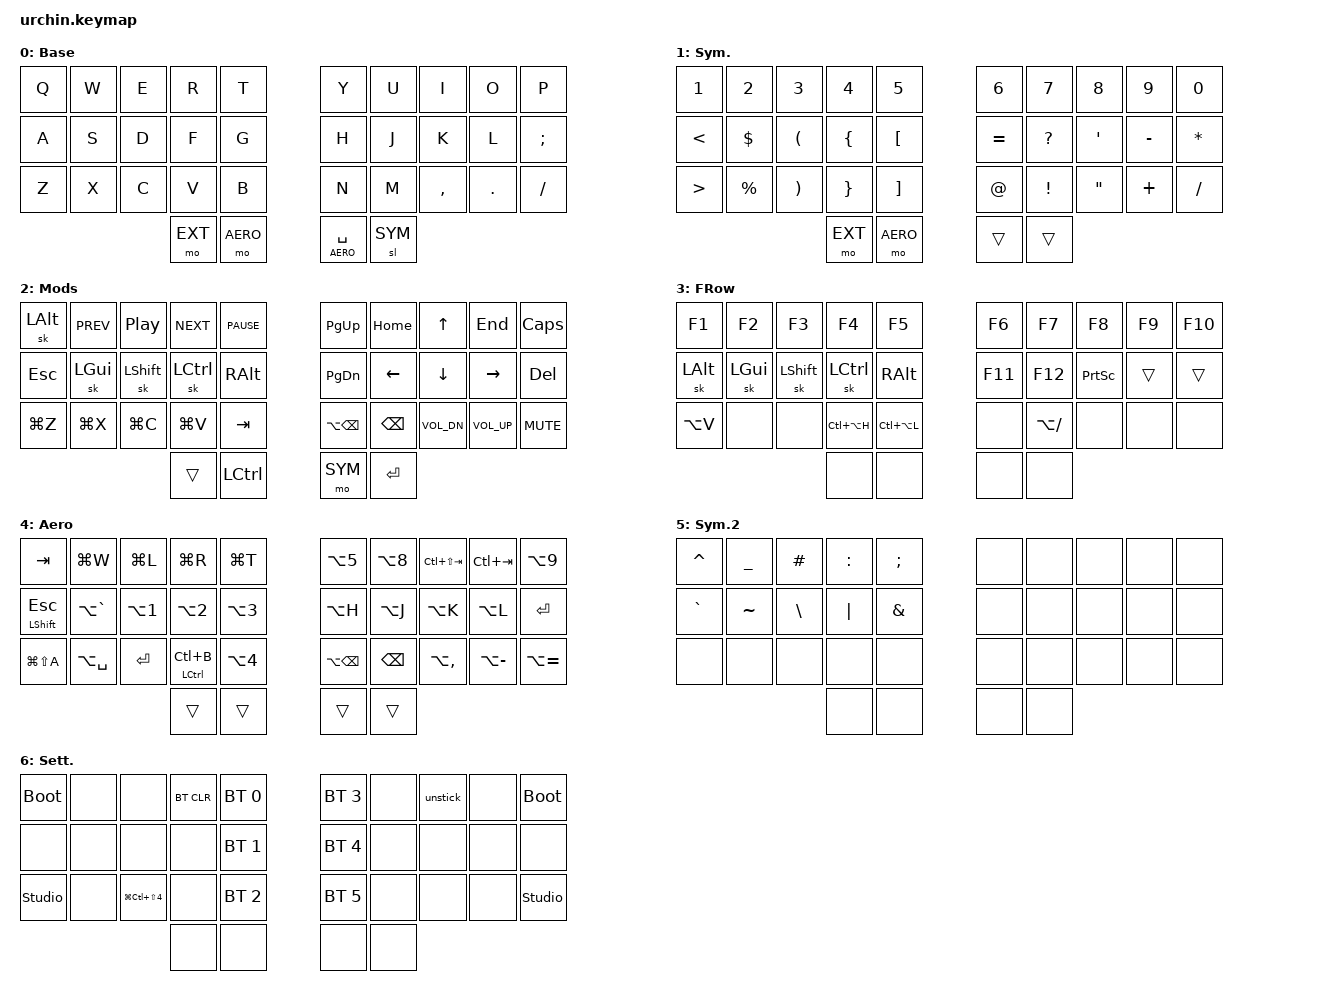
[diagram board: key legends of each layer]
/*
 * Copyright (c) 2020 duckyb
 *
 * SPDX-License-Identifier: MIT
 *
 * US / ANSI conversion of duckyb's Urchin keymap.
 * Original assumed an Italian OS input source; this version assumes
 * US (ABC) and targets macOS for the clipboard shortcuts.
 */

#include <behaviors.dtsi>
#include <dt-bindings/zmk/keys.h>
#include <dt-bindings/zmk/bt.h>
#include <dt-bindings/zmk/outputs.h>

// Layer definitions
#define BASE 0
#define SYM 1
#define EXT 2
#define FNC 3
#define AERO 4
#define SYM2 5
#define SETTINGS 6
// -----------------

&sk {
	// don't release mods on other mods presses
	ignore-modifiers;
};


/ {
	behaviors {
		// Aero dual roles: A taps Escape/holds Shift; V taps Herdr prefix/holds Ctrl.
		aero_dual: aero_dual_role {
			compatible = "zmk,behavior-hold-tap";
			label = "AERO_DUAL";
			#binding-cells = <2>;
			flavor = "hold-preferred";
			tapping-term-ms = <200>;
			quick-tap-ms = <175>;
			bindings = <&kp>, <&kp>;
		};

		// Preserve the proven right-inner Space behavior from the known-good firmware.
		aero: aero_tap {
			compatible = "zmk,behavior-hold-tap";
			label = "AERO_TAP";
			#binding-cells = <2>;
			flavor = "balanced";
			tapping-term-ms = <200>;
			quick-tap-ms = <175>;
			require-prior-idle-ms = <150>;
			bindings = <&mo>, <&kp>;
		};
	};

	conditional_layers {
		compatible = "zmk,conditional-layers";
		fn_when_mods_and_sym {
			if-layers = <EXT SYM>;
			then-layer = <FNC>;
		};
		sym2_when_aero_and_sym {
			if-layers = <AERO SYM>;
			then-layer = <SYM2>;
		};
	};

	macros {
		// sometimes my device thinks a modifier is being held down
		// pressing all modifiers fixes it.
		unstick: unstick {
			label = "ZM_unstick";
			compatible = "zmk,behavior-macro";
			#binding-cells = <0>;
			bindings = <&kp LSHIFT &kp RSHIFT &kp LCTRL &kp RCTRL &kp LALT &kp RALT &kp LGUI &kp RGUI>;
		};
	};

	combos {
		compatible = "zmk,combos";
		// both left thumb keys
		combo_settings {
			timeout-ms = <200>;
			key-positions = <30 31>;
			bindings = <&mo SETTINGS>;
		};
		// J + K -> Escape. "jk" is not a digraph in English, so this can't
		// collide with normal typing. timeout-ms is the only delay a lone J
		// ever sees (45ms, vs the 1000ms a vim inoremap would cost), and
		// require-prior-idle-ms disables the combo entirely mid-word, so
		// there is no delay at all while you're actually typing.
		combo_esc {
			timeout-ms = <45>;
			require-prior-idle-ms = <50>;
			key-positions = <16 17>;
			bindings = <&kp ESC>;
			layers = <BASE>;
		};

		// J + L -> Enter. Right hand only, so Enter no longer needs the left
		// thumb for the Mods layer. Index + ring skipping the middle: an easy
		// pinch, and "jl" appears 8 times in a 236k-word dictionary.
		combo_enter {
			timeout-ms = <45>;
			require-prior-idle-ms = <50>;
			key-positions = <16 18>;
			bindings = <&kp ENTER>;
			layers = <BASE>;
		};
	};

	keymap {
		compatible = "zmk,keymap";
		// Base alpha layer -- standard US QWERTY block
		default_layer {
			label = "Base";
			bindings = <
			&kp Q &kp W &kp E &kp R &kp T           &kp Y &kp U  &kp I     &kp O   &kp P
			&kp A &kp S &kp D &kp F &kp G           &kp H &kp J  &kp K     &kp L   &kp SEMI
			&kp Z &kp X &kp C &kp V &kp B           &kp N &kp M  &kp COMMA &kp DOT &kp FSLH
							&mo EXT &mo AERO                                   &aero AERO SPACE &sl SYM
			>;
		};

		// Numbers and high frequency symbols
		// Left hand pairs open/close vertically: < >  ( )  { }  [ ]
		sym_layer {
			label = "Sym.";
			bindings = <
			&kp N1 &kp N2    &kp N3   &kp N4   &kp N5             &kp N6    &kp N7    &kp N8  &kp N9    &kp N0
			&kp LT &kp DLLR  &kp LPAR &kp LBRC &kp LBKT           &kp EQUAL &kp QMARK &kp SQT &kp MINUS &kp STAR
			&kp GT &kp PRCNT &kp RPAR &kp RBRC &kp RBKT           &kp AT    &kp EXCL  &kp DQT &kp PLUS  &kp FSLH
														&mo EXT &mo AERO                         &trans &trans
			>;
		};

		// Main modifiers and arrow keys
		ext_layer {
			label = "Mods";
			bindings = <
			&sk LALT  &kp C_PREV &kp C_PP &kp C_NEXT &kp C_PAUSE       &kp PG_UP &kp HOME &kp UP   &kp END &kp CAPS
			&kp ESC   &sk LGUI   &sk LSHIFT &sk LCTRL  &kp RALT        &kp PG_DN &kp LEFT &kp DOWN &kp RIGHT &kp DEL
			&kp LG(Z) &kp LG(X)  &kp LG(C)  &kp LG(V)  &kp TAB       &kp LA(BSPC) &kp BSPC &kp C_VOL_DN &kp C_VOL_UP &kp C_MUTE
																		&trans &kp LCTRL                         &mo SYM &kp ENTER
			>;
		};

		// Function keys with modifiers
		fnc_layer {
			label = "FRow";
			bindings = <
			&kp F1 &kp F2 &kp F3 &kp F4 &kp F5                  &kp F6 &kp F7 &kp F8 &kp F9 &kp F10
			&sk LALT &sk LGUI &sk LSHIFT &sk LCTRL &kp RALT     &kp F11 &kp F12  &kp PRINTSCREEN &trans &trans
			&kp LA(V) &none &none &kp LC(LA(H)) &kp LC(LA(L))       &none &kp LA(SLASH) &none &none &none
							  &none &none                         &none &none
			>;
		};

		// Aerospace window management. Hold the dedicated left inner thumb.
		// Mirrors ~/.aerospace.toml, which uses alt as its modifier.
		aero_layer {
			label = "Aero";
			bindings = <
			// Aerospace keys follow the SketchyBar icon order, not the workspace IDs:
			// alt-` = ws1 Dev, alt-1 = ws2 Browser, alt-2 = ws3 Chat, alt-3 = ws4 Mail,
			// alt-4 = ws5 Music, alt-5 = ws6 Production, alt-8 = ws0 Files,
			// alt-9 = ws9 Settings.
			// Right top row: Y = Production, U = Files, P = Settings.
			// Labels below describe the destination workspace, not the number sent.
			// Left top keeps mnemonic Chrome positions: W closes and T opens a tab.
			&kp TAB &kp LG(W) &kp LG(L) &kp LG(R) &kp LG(T)  &kp LA(N5) &kp LA(N8) &kp LC(LS(TAB)) &kp LC(TAB) &kp LA(N9)
			&aero_dual LSHIFT ESC &kp LA(GRAVE) &kp LA(N1) &kp LA(N2) &kp LA(N3)  &kp LA(H) &kp LA(J) &kp LA(K) &kp LA(L) &kp ENTER
			// B holds Music: alt-4 both focuses ws5 and launches/focuses Spotify.
			&kp LG(LS(A)) &kp LA(SPACE) &kp ENTER &aero_dual LCTRL LC(B) &kp LA(N4)       &kp LA(BSPC) &kp BSPC &kp LA(COMMA) &kp LA(MINUS) &kp LA(EQUAL)
			// Keep all thumbs transparent. Contextual thumb overrides caused the
			// right thumb row to become unusable in the unified Aero revision.
									&trans &trans                         &trans &trans
			>;
		};

		// Low-frequency coding symbols. This layer automatically activates whenever
		// Aero and Sym are both held, regardless of which thumb was pressed first.
		symbols_2_layer {
			label = "Sym.2";
			bindings = <
			&kp CARET &kp UNDER &kp HASH &kp COLON &kp SEMI            &none &none &none &none &none
			&kp GRAVE &kp TILDE &kp BSLH &kp PIPE  &kp AMPS            &none &none &none &none &none
			&none     &none     &none    &none     &none               &none &none &none &none &none
																	&none &none                         &none &none
			>;
		};
		// Used to change the keyboard's settings.
		settings_layer {
				label = "Sett.";
				bindings = <
				&bootloader &none &none &bt BT_CLR &bt BT_SEL 0               &bt BT_SEL 3 &none &unstick &none &bootloader
				&none &none &none &none      &bt BT_SEL 1 						  &bt BT_SEL 4 &none &none &none &none
				&studio_unlock &none &kp LG(LC(LS(N4))) &none      &bt BT_SEL 2               &bt BT_SEL 5 &none &none &none &studio_unlock
										&none &none                         &none &none
				>;
		};
	};
};
